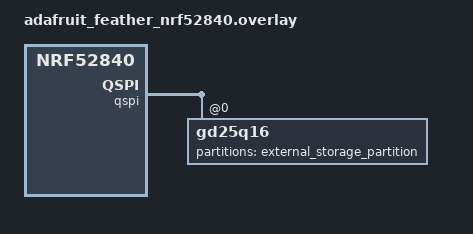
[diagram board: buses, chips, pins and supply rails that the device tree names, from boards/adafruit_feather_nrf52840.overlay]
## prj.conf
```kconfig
# Peripherals 
CONFIG_NRFX_PWM0=y
CONFIG_NRFX_PWM1=y
CONFIG_NRFX_PWM2=y
CONFIG_GPIO=n
CONFIG_NRFX_GPIOTE0=y
CONFIG_NRFX_PPI=y
CONFIG_NRFX_TIMER1=y
CONFIG_NRFX_TIMER2=y
CONFIG_NRFX_TIMER3=y
CONFIG_NRFX_TIMER4=y
CONFIG_NRFX_EGU0=y
CONFIG_NRFX_RTC2=y

CONFIG_ZERO_LATENCY_IRQS=y

#CONFIG_ASSERT=y 

# Logger module
CONFIG_BT_L2CAP_TX_MTU=64
CONFIG_BT_BUF_ACL_RX_SIZE=64
CONFIG_BT_BUF_ACL_TX_SIZE=64
CONFIG_BT_LOG_LEVEL_INF=y

# Bluetooth LE
CONFIG_BT=y
CONFIG_BT_PERIPHERAL=y
CONFIG_BT_DEVICE_NAME="SPECT_PATCH0"
CONFIG_BT_DEVICE_NAME_DYNAMIC=y

# RTT 
CONFIG_LOG=y
CONFIG_USE_SEGGER_RTT=y
CONFIG_LOG_BACKEND_UART=n
CONFIG_LOG_BACKEND_RTT=y 

# Flash memory 
#CONFIG_NVS=y
CONFIG_FLASH=y
CONFIG_FLASH_PAGE_LAYOUT=y
CONFIG_FLASH_MAP=y
CONFIG_NORDIC_QSPI_NOR=y
CONFIG_FLASH_LOG_LEVEL_DBG=y

CONFIG_REBOOT=y
```

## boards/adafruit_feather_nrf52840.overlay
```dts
&qspi {
    gd25q16: gd25q16@0 {
        /* Change this line specifically */
        jedec-id = [ c8 40 15 ]; 
        
        /* The rest can stay the same, but ensure read-only is gone */
        partitions {
            compatible = "fixed-partitions";
            #address-cells = <1>;
            #size-cells = <1>;
            external_storage_partition: partition@0 {
                label = "external_storage_partition";
                reg = <0x00000000 0x00200000>;
            };
        };
    };
};
```

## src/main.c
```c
#include "final_patch.h" 
#include "inputs.h"
#include "outputs.h"
#include "rtc.h"
#include "ble.h" // added this need to check if this is right

LOG_MODULE_REGISTER(final_patch, LOG_LEVEL_INF);

// hardware instances 
const nrfx_timer_t timer_sramout_inst = NRFX_TIMER_INSTANCE(TIMER_SRAMOUT_INST_IDX); 
const nrfx_timer_t timer_dataout_inst = NRFX_TIMER_INSTANCE(TIMER_DATAOUT_INST_IDX);
const nrfx_pwm_t pwm_sipo_instance = NRFX_PWM_INSTANCE(PWM_SIPO_INST_IDX);
const nrfx_pwm_t pwm_clk_base_instance = NRFX_PWM_INSTANCE(PWM_CLK_BASE_INST_IDX);
const nrfx_pwm_t pwm_clk_1mhz_instance = NRFX_PWM_INSTANCE(PWM_CLK_1MHZ_INST_IDX); 

// global variables 
volatile uint32_t sramout_buffer[4]; 
volatile uint32_t dataout_buffer = 0; 
volatile int sramout_count = 0;
volatile int dataout_count = 0; 
 
nrf_pwm_values_grouped_t sipo_buffer[SIPO_DATA_LEN]; 
nrf_pwm_values_common_t clk_base_value = 3200;
nrf_pwm_values_common_t clk_1mhz_value = 8 | 0x8000;
volatile uint32_t rtc_overflow_count = 0;
volatile bool sipo_done = false; 
volatile bool dac_i2c_done = false;

volatile uint32_t ble_al_counter = 0;
volatile uint32_t ble_dl_counter = 0;
volatile uint8_t done_wr_sipo = 0;
volatile uint8_t done_wr_dac = 0;

volatile uint8_t done_rd_SRAM = 0; 

volatile uint32_t current_write_offset; 
volatile bool is_dumping = false; 
volatile uint32_t dump_offset; 
volatile uint32_t gamma_counts; 

struct k_work sramout_work;
struct k_work dataout_work;

// pwm sequences 
nrf_pwm_sequence_t seq_sipo =
{
    .values.p_grouped = sipo_buffer,
    .length           = SIPO_DATA_LEN * 2, 
    .repeats          = 0,
    .end_delay        = 0
}; 

nrf_pwm_sequence_t seq_clk_base =
{
    .values.p_common = &clk_base_value,
    .length           = 1, 
    .repeats          = 0,
    .end_delay        = 0
};

nrf_pwm_sequence_t seq_clk_1mhz =
{
    .values.p_common = &clk_1mhz_value,
    .length           = 1, 
    .repeats          = 0,
    .end_delay        = 0
}; 

void sramout_work_handler(struct k_work *work)
{
    // All the bit-shifting and BLE notification logic we wrote earlier
    int count = sramout_count;
    
    process_sramout(sramout_buffer, count); 
}

void dataout_work_handler(struct k_work *work)
{   
    uint32_t ts = (uint32_t)get_current_timestamp(); 
    uint32_t val = dataout_buffer;
    int count = dataout_count;

    process_dataout(val, count, ts);  
}


void initialize_patch(void) {

        // pin initalizations 
        nrf_gpio_pin_clear(CH_RST);
        nrf_gpio_cfg_output(CH_RST);

        nrf_gpio_cfg_input(SRAMOUT_DATA_IN, NRF_GPIO_PIN_NOPULL); 
        nrf_gpio_cfg_input(SRAMOUT_CLK_IN, NRF_GPIO_PIN_NOPULL);

        nrf_gpio_cfg_input(DATAOUT_DATA_IN, NRF_GPIO_PIN_NOPULL); 
        nrf_gpio_cfg_input(DATAOUT_CLK_IN, NRF_GPIO_PIN_NOPULL);

        nrf_gpio_cfg_input(AL_DATA_IN, NRF_GPIO_PIN_NOPULL); 
        nrf_gpio_cfg_input(DL_DATA_IN, NRF_GPIO_PIN_NOPULL);

        // inputs 
        gpiote_inputs_init(); 
        timer_timeout_init(); 
        timer_counter_init();
        ppi_inputs_init(); 

        // outputs 
        pwm_clk_base_init();
        pwm_clk_1mhz_init(); 
        pwm_sipo_init(); 
        ppi_outputs_init(); 
        dac_init(); 

        // trigger global clocks 
        clk_base_trigger_transfer();
        k_usleep(100);
        clk_1mhz_trigger_transfer(); 

        // initialize workers 
        k_work_init(&sramout_work, sramout_work_handler);
        k_work_init(&dataout_work, dataout_work_handler);

        // initialize bluetooth 
        int err;
            
        // erase for actual patch 
        //nrf_gpio_cfg_output(BLE_LED);
        //nrf_gpio_pin_clear(BLE_LED); 
        reset_dl_counter(); 
        reset_al_counter(); 

        if (!device_is_ready(FLASH_DEVICE)) {
                LOG_INF("Flash device is not ready\n"); 
        }

        LOG_INF("Erasing flash for experiment...");
        err = flash_erase(FLASH_DEVICE, FLASH_BASE_OFFSET, FLASH_TOTAL_SIZE);
        if (err) {
                LOG_ERR("Flash erase failed: %d", err);
        }

        err = bt_enable(NULL); 
        if (err) {
            LOG_ERR("Bluetooth init failed \n"); 
        } 
        LOG_INF("BT success");

        // start advertising 
        // err = bt_le_adv_start(BT_LE_ADV_CONN, NULL, 0, NULL, 0); 
        patch_ad_start();  
        LOG_INF("Advertising successfully started");

}


int main(void)
{
        LOG_INF("Start Patch \n"); 
        
        // initialize patch 
        initialize_patch(); 

        k_msleep(5000);  
        // patch is idle 
        while (1) {
                if (is_dumping && current_conn) {
                    int status = dataout_dump(current_conn);
                    if (status == -ENOMEM) {
                        // BLE buffers are full, wait 1 tick for the radio to clear them
                        k_msleep(50); 
                    } else if (status == 0) {
                        // packet sent successfully and don't sleep
                        k_msleep(10); 
                    }
                } else {
                    k_sleep(K_MSEC(1000));
                }
                // test erase 
                
        }
}
```

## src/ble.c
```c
/**
 * @file ble.c
 * @author Archie Lee
 * @brief Handles patch BLE logic. 
 * @details Implements BLE connection, advertisement, communication, and GATT server.  
 * @version 1.0
 * @date 2026-01-23
 */

/* Includes ------------------------------------------------------------------*/
#include "final_patch.h" 
#include "inputs.h"
#include "outputs.h" 
#include "rtc.h" 

// logging 
LOG_MODULE_REGISTER(spect, LOG_LEVEL_INF);
#define NRFX_LOG_MODULE                 EXAMPLE
#define NRFX_EXAMPLE_CONFIG_LOG_ENABLED 1
#define NRFX_EXAMPLE_CONFIG_LOG_LEVEL   3

/* UUID ------------------------------------------------------------------*/
#define SPECT_BASE_UUID BT_UUID_128_ENCODE(0x7231db4c, 0x67ed, 0x4bf7, 0xbe9f, 0x2b84348147ee)

static struct bt_uuid_128 spect_uuid = BT_UUID_INIT_128(SPECT_BASE_UUID);
static struct bt_uuid_128 sipo_uuid  = BT_UUID_INIT_128(BT_UUID_128_ENCODE(0x7231db4d, 0x67ed, 0x4bf7, 0xbe9f, 0x2b84348147ee)); 
static struct bt_uuid_128 dac_uuid  = BT_UUID_INIT_128(BT_UUID_128_ENCODE(0x7231db4e, 0x67ed, 0x4bf7, 0xbe9f, 0x2b84348147ee));
static struct bt_uuid_128 sramout_uuid  = BT_UUID_INIT_128(BT_UUID_128_ENCODE(0x7231db4f, 0x67ed, 0x4bf7, 0xbe9f, 0x2b84348147ee));
static struct bt_uuid_128 al_uuid  = BT_UUID_INIT_128(BT_UUID_128_ENCODE(0x7231db50, 0x67ed, 0x4bf7, 0xbe9f, 0x2b84348147ee));
static struct bt_uuid_128 dl_uuid  = BT_UUID_INIT_128(BT_UUID_128_ENCODE(0x7231db51, 0x67ed, 0x4bf7, 0xbe9f, 0x2b84348147ee)); 
static struct bt_uuid_128 dataout_uuid  = BT_UUID_INIT_128(BT_UUID_128_ENCODE(0x7231db52, 0x67ed, 0x4bf7, 0xbe9f, 0x2b84348147ee));
static struct bt_uuid_128 syscmd_uuid  = BT_UUID_INIT_128(BT_UUID_128_ENCODE(0x7231db53, 0x67ed, 0x4bf7, 0xbe9f, 0x2b84348147ee));
static struct bt_uuid_128 count_status_uuid  = BT_UUID_INIT_128(BT_UUID_128_ENCODE(0x7231db54, 0x67ed, 0x4bf7, 0xbe9f, 0x2b84348147ee));

const struct bt_data ad[] = {
    /* Set advertising flags: General discoverable, BR/EDR not supported */
    BT_DATA_BYTES(BT_DATA_FLAGS, (BT_LE_AD_GENERAL | BT_LE_AD_NO_BREDR)),
    
    /* Advertise the 128-bit Service UUID so the Motherboard can filter for it */
    BT_DATA_BYTES(BT_DATA_UUID128_ALL, 
        0xee, 0x47, 0x81, 0x34, 0x84, 0x2b, 0x9f, 0xbe, 
        0xf7, 0x4b, 0xed, 0x67, 0x4c, 0xdb, 0x31, 0x72), 
};

const struct bt_data sd[] = {
    BT_DATA(BT_DATA_NAME_COMPLETE, CONFIG_BT_DEVICE_NAME, sizeof(CONFIG_BT_DEVICE_NAME) - 1), 
};

/* Global Variables ------------------------------------------------------------------*/
struct bt_conn *current_conn;
struct sramout_ble_packet ble_sramout_packet;
struct count_status_packet status_packet; 

/* BLE Connection Functions ------------------------------------------------------------------*/
void on_connected(struct bt_conn *conn, uint8_t err)
{
    if (err) {
        LOG_ERR("Connection failed (err %u)\n", err);
        return;
    }

    LOG_INF("Connected! Motherboard is now talking to us.\n");

    // erase for actual patch 
    //nrf_gpio_pin_set(BLE_LED);
    
    // Save the connection reference
    current_conn = bt_conn_ref(conn);
} 

void on_disconnected(struct bt_conn *conn, uint8_t reason)
{
    printk("Disconnected (reason %u)\n", reason);
    // erase for actual patch 
    //nrf_gpio_pin_clear(BLE_LED); 
    
    if (current_conn) {
        bt_conn_unref(current_conn);
        current_conn = NULL;
    }
    
    // CRITICAL: Start advertising again so the Motherboard can reconnect!
    // bt_le_adv_start(BT_LE_ADV_CONN, NULL, 0, NULL, 0);
    patch_ad_start();
}

// Register the callbacks with the system
BT_CONN_CB_DEFINE(conn_callbacks) = {
    .connected = on_connected,
    .disconnected = on_disconnected,
};

/* BLE Callback Functions ------------------------------------------------------------------*/
static ssize_t sipo_write_cb(struct bt_conn *conn, const struct bt_gatt_attr *attr,
                             const void *buf, uint16_t len, uint16_t offset, uint8_t flags)
{
    if (len != 16) {
        return BT_GATT_ERR(BT_ATT_ERR_INVALID_ATTRIBUTE_LEN);
    }

    
    sipo_reset(); 
    reset_sramout();  

    const uint8_t *data = (const uint8_t *)buf; 

    // LOG_INF("First byte: 0x%02X \n", data[0]);
    // LOG_INF("Second byte: 0x%02X \n", data[1]);
    // LOG_INF("Second byte: 0x%02X \n", data[2]);
    // LOG_INF("Sixth byte: 0x%02X \n", data[6]);
    // LOG_INF("Twelvth byte: 0x%02X \n", data[12]);
    // LOG_INF("Last byte: 0x%02X \n", data[15]);

    // prepare sipo_buffer 
    prepare_sipo_buffer(data); 

    // send the sipo data 
    sipo_trigger_transfer(); 

    // start the sipo transfer for now lets assume sending the sipo data means sipo_trigger 
    LOG_INF("SIPO Data Received! Sending the SIPO data with first byte: 0x%02X and last byte: 0x%02X", data[0], data[len-1]); 

    while(!sipo_done) {
        k_usleep(10); 
    }

    // sipo is done 
    done_wr_sipo = 1; 

    // notify motherboard that sipo is done 
    bt_gatt_notify(conn, attr, (const void *)&done_wr_sipo, sizeof(done_wr_sipo)); 

    LOG_INF("SIPO done! Sent done_wr_sipo to motherboard \n");

    return len;
} 

// dac write callback 
static ssize_t dac_write_cb(struct bt_conn *conn, const struct bt_gatt_attr *attr,
                             const void *buf, uint16_t len, uint16_t offset, uint8_t flags)
{
    if (len != 5) {
        return BT_GATT_ERR(BT_ATT_ERR_INVALID_ATTRIBUTE_LEN);
    }

    // Copy incoming wireless data to our local buffer
    //memcpy(ble_dac_buffer, buf, len);

    const uint8_t *data = (const uint8_t *)buf;

    // send dac data 
    dac_reset(); 
    dac_i2c_write(data, len); 

    // start the dac transfer for now lets assume sending the dac data means dac_trigger 
    LOG_INF("DAC Data Received! Sending the DAC data with first byte: 0x%02X and last byte: 0x%02X", data[0], data[len-1]); 

    // dac is done 
    done_wr_dac = 1; 
                    
    // notify motherboard that sipo is done 
    bt_gatt_notify(conn, attr, &done_wr_dac, sizeof(done_wr_dac));

    LOG_INF("DAC done! Sent done_wr_dac to motherboard \n");

    return len;
} 

// sramout read callback 
static ssize_t sramout_read_cb(struct bt_conn *conn, const struct bt_gatt_attr *attr,
                            void *buf, uint16_t len, uint16_t offset)
{

    // This helper function handles the offset and length logic for you 
    return bt_gatt_attr_read(conn, attr, buf, len, offset, &ble_sramout_packet, sizeof(ble_sramout_packet));
    
} 

// al read callback 
static ssize_t al_read_cb(struct bt_conn *conn, const struct bt_gatt_attr *attr,
                            void *buf, uint16_t len, uint16_t offset)
{

    update_al_counter(); 
    
    // This helper function handles the offset and length logic for you 
    return bt_gatt_attr_read(conn, attr, buf, len, offset, &ble_al_counter, sizeof(ble_al_counter));
} 

// dl read callback 
static ssize_t dl_read_cb(struct bt_conn *conn, const struct bt_gatt_attr *attr,
                            void *buf, uint16_t len, uint16_t offset)
{

    update_dl_counter();
 
    // This helper function handles the offset and length logic for you 
    return bt_gatt_attr_read(conn, attr, buf, len, offset, &ble_dl_counter, sizeof(ble_dl_counter));
}

// dataout read callback 
static ssize_t dataout_read_cb(struct bt_conn *conn, const struct bt_gatt_attr *attr,
                            void *buf, uint16_t len, uint16_t offset)
{

    

    // struct dataout_ble_packet pkt; 
    // if (k_msgq_get(&fifo_data_out, &pkt, K_NO_WAIT) == 0){
    //     LOG_INF("Dataout read request: Popping 0x%08X", pkt.dataout);
    //     return bt_gatt_attr_read(conn, attr, buf, len, offset, &pkt, sizeof(pkt));
    // } else {
    //     // FIFO is empty, return 0 or an error code
    //     LOG_WRN("Dataout read request: FIFO Empty");
    //     return 0; 
    // }

    return 0; 
} 

// BLE ADDED
static ssize_t count_status_cb(struct bt_conn *conn, const struct bt_gatt_attr *attr,
                            void *buf, uint16_t len, uint16_t offset)
{   
    // erase 
    // struct dataout_ble_packet new_pkt;
    // new_pkt.dataout = 12; 
    // new_pkt.timestamp = 1; 
    // LOG_INF("Erasing flash"); 
    // flash_erase(FLASH_DEVICE, FLASH_BASE_OFFSET, FLASH_TOTAL_SIZE);
    // flash_write(FLASH_DEVICE, FLASH_BASE_OFFSET, &new_pkt, sizeof(new_pkt));
    // gamma_counts++; 

    // current_write_offset = 0; 
    // current_write_offset += sizeof(new_pkt);
    // new_pkt.dataout = 2; 
    // new_pkt.timestamp = 2;
    // flash_write(FLASH_DEVICE, FLASH_BASE_OFFSET + current_write_offset, &new_pkt, sizeof(new_pkt)); 
    // gamma_counts++; 
    get_count_status(); 
    
    return bt_gatt_attr_read(conn, attr, buf, len, offset, &status_packet, sizeof(status_packet));
} 

// ADDED
int dataout_dump(struct bt_conn *conn) {
    LOG_INF("dump start"); 
    if (!is_dumping || !conn) {
        return 0; 
    }
    
    struct dataout_ble_packet pkt; 
    struct dataout_ble_packet end_pkt = {
        .timestamp = 0xFFFFFFFF,    // All 32 bits set
        .dataout   = 0x3FFFFFF,     // All 26 bits set (max for 26-bit field)
        .reserved  = 0x3F           // All 6 bits set (max for 6-bit field)
    }; 

    int ble_err = 0; 
    int packets_sent_this_round = 0; 
    const int MAX_SENT_PER_CALL = 20; 
    
    // no gamma counts 
    if (gamma_counts == 0) {
        // send the end of data
        ble_err = bt_gatt_notify(conn, &spect_svc.attrs[15], &end_pkt, sizeof(end_pkt)); 
        if (ble_err == 0) {
            is_dumping = false; 
        }
        return ble_err; 
    }

    while (dump_offset < current_write_offset) {
        if (packets_sent_this_round >= MAX_SENT_PER_CALL) {
            return 0; // Return to main loop, will resume next pass
        }

        int flash_err = flash_read(FLASH_DEVICE, FLASH_BASE_OFFSET + dump_offset, 
                                   &pkt, sizeof(pkt)); 

        if (flash_err != 0) {
            LOG_ERR("Flash read error during dump at %u", dump_offset); 
            is_dumping = false; 
            return flash_err; 
        }

        ble_err = bt_gatt_notify(conn, &spect_svc.attrs[15], &pkt, sizeof(pkt)); // double check
        if (ble_err == 0) {
            dump_offset += sizeof(pkt); // Success: increment pointer
            packets_sent_this_round++; 
        } else if (ble_err == -ENOMEM) {
            // BLE stack is full for this millisecond. 
            // Exit the function and try again on the next main loop pass.
            return ble_err; 
        } else {
            LOG_ERR("BLE Notification failed: %d", ble_err);
            is_dumping = false;
            return ble_err;
        }

        if (dump_offset >= current_write_offset) { 
            ble_err = bt_gatt_notify(conn, &spect_svc.attrs[15], &end_pkt, sizeof(end_pkt)); 
            if(ble_err == -ENOMEM) {
                return ble_err; 
            }
            is_dumping = false; 
            LOG_INF("--- BULK TRANSFER COMPLETE --- Total Bytes: %u", dump_offset);
        } 
    }

    return 0; 
}

// ADDED 
void reset_mem(void) {
    LOG_INF("Erasing flash for experiment...");
    int err = flash_erase(FLASH_DEVICE, FLASH_BASE_OFFSET, FLASH_TOTAL_SIZE);
    if (err) {
            LOG_ERR("Flash erase failed: %d", err);
    }

    current_write_offset = 0;
}

// sys command callback  BLE ADDED 
static ssize_t syscmd_write_cb(struct bt_conn *conn, const struct bt_gatt_attr *attr,
                             const void *buf, uint16_t len, uint16_t offset, uint8_t flags) 
{
    uint8_t command = ((uint8_t *)buf)[0];
    
    switch (command) {
        case 0x01: // reset sipo
            done_wr_sipo = 0; 
            //memset((void*)sipo_buffer, 0, sizeof(sipo_buffer));
            LOG_INF("reset sipo \n");
            break;
        
        case 0x02: // reset dac
            dac_reset(); 
            //memset((void*)dac_buffer, 0, sizeof(dac_buffer));
            LOG_INF("reset dac \n"); 
            break; 
        
        case 0x03: // reset sramout   
            reset_sramout(); 
            LOG_INF("reset sramout \n"); 
            break; 
        
        case 0x04: // reset aldl
            reset_al_counter(); 
            reset_dl_counter();  
            LOG_INF("reset aldl \n");  
            break; 
        
        case 0x05: // reset dataout + start rtc timer
            reset_dataout(); 
            LOG_INF("reset dataout \n"); 
            break;
        
        case 0x06: // reset chip 
            LOG_INF("reset chip \n"); 
            chip_reset(); 
            break;
        
        case 0x07: // reset global
            // reset memory
            chip_reset(); 
            reset_mem(); 
            reset_dataout();
            chip_reset();
            reset_dataout(); 
            gamma_counts = 0; 
            rtc_overflow_count = 0; 
            // reset rtc_timer need to add 
            LOG_INF("reset global \n"); 
            break; 
        
        case 0x08: // stop gamma counts 
            // stop timer + call dataout_dum[ ]
            dump_offset = 0; 
            is_dumping = true; 
            stop_timestamp_rtc(); 
            LOG_INF("stop gamma counts \n");
            break;

        case 0x09: // start gamma counts  
            // stop timer + call dataout_dump  
            start_timestamp_rtc();
            LOG_INF("start gamma counts \n");
            struct dataout_ble_packet start_signal = {
                .timestamp = 0xFFFFFFFF,
                .dataout = 0x1, // Signal for START
                .reserved = 0
            };
            bt_gatt_notify(conn, &spect_svc.attrs[15], &start_signal, sizeof(start_signal));

            // reset_mem(); 
            // reset_dataout();
            // gamma_counts = 0; 

            // struct dataout_ble_packet new_pkt;
            // int err; 
            // for (int i = 1; i < 11; i++) {
            //     new_pkt.dataout = i; 
            //     new_pkt.timestamp = i + 1; 
            //     err = flash_write(FLASH_DEVICE, FLASH_BASE_OFFSET + current_write_offset, &new_pkt, sizeof(new_pkt));
            //     if (err < 0) {
            //         LOG_ERR("flash write failed");
            //     } else {
            //         current_write_offset += sizeof(new_pkt); 
            //         gamma_counts++; 
            //     }
            // }
            //dump_offset = 0;
            //is_dumping = true; 
            LOG_INF("Ready to dump");

            break;
        
        case 0x0A: // start gamma counts  
        // stop timer + call dataout_dump  
            LOG_INF("reset patch \n");
            static struct sramout_ble_packet reset_pkt;
        
            // Fill the whole struct with Fs
            memset(&reset_pkt, 0xFF, sizeof(reset_pkt));
            
            // Send the "Signal" to the Motherboard
            bt_gatt_notify(NULL, &spect_svc.attrs[8], &reset_pkt, sizeof(reset_pkt));
            k_msleep(100);
            sys_reboot(SYS_REBOOT_COLD);
            break; 

        default:
            LOG_INF("Unknown Command: 0x%02X\n", command);
            return BT_GATT_ERR(BT_ATT_ERR_VALUE_NOT_ALLOWED);
    }

    return len; 

}

void patch_ad_start(void) {
    LOG_INF("Device Name: %s", CONFIG_BT_DEVICE_NAME);
    int err = bt_le_adv_start(BT_LE_ADV_CONN, ad, ARRAY_SIZE(ad), sd, ARRAY_SIZE(sd));
    if (err) {
        LOG_ERR("Adv start failed (err %d)", err);
    }
}

/* GATT Server ------------------------------------------------------------------*/
BT_GATT_SERVICE_DEFINE(spect_svc,
        BT_GATT_PRIMARY_SERVICE(&spect_uuid),
        BT_GATT_CHARACTERISTIC(&sipo_uuid.uuid,
                    BT_GATT_CHRC_WRITE | BT_GATT_CHRC_NOTIFY,    // Motherboard can write
                    BT_GATT_PERM_WRITE,    // Requires write permission
                    NULL, sipo_write_cb, NULL), 
        BT_GATT_CCC(NULL, BT_GATT_PERM_READ | BT_GATT_PERM_WRITE), 
        BT_GATT_CHARACTERISTIC(&dac_uuid.uuid,
                    BT_GATT_CHRC_WRITE | BT_GATT_CHRC_NOTIFY,    // Motherboard can write
                    BT_GATT_PERM_WRITE,    // Requires write permission
                    NULL, dac_write_cb, NULL), 
        BT_GATT_CCC(NULL, BT_GATT_PERM_READ | BT_GATT_PERM_WRITE), 
        BT_GATT_CHARACTERISTIC(&sramout_uuid.uuid,
                    BT_GATT_CHRC_READ | BT_GATT_CHRC_NOTIFY,    // Motherboard can read
                    BT_GATT_PERM_READ,    // Requires read permission
                    sramout_read_cb, NULL, NULL),
        BT_GATT_CCC(NULL, BT_GATT_PERM_READ | BT_GATT_PERM_WRITE), 
        BT_GATT_CHARACTERISTIC(&al_uuid.uuid,
                    BT_GATT_CHRC_READ,    // Motherboard can read
                    BT_GATT_PERM_READ,    // Requires read permission
                    al_read_cb, NULL, NULL),
        BT_GATT_CHARACTERISTIC(&dl_uuid.uuid,
                    BT_GATT_CHRC_READ,    // Motherboard can read
                    BT_GATT_PERM_READ,    // Requires read permission
                    dl_read_cb, NULL, NULL),
        BT_GATT_CHARACTERISTIC(&dataout_uuid.uuid,
                    BT_GATT_CHRC_READ | BT_GATT_CHRC_NOTIFY,    // Motherboard can read
                    BT_GATT_PERM_READ,    // Requires read permission
                    dataout_read_cb, NULL, NULL),
        BT_GATT_CCC(NULL, BT_GATT_PERM_READ | BT_GATT_PERM_WRITE),
        BT_GATT_CHARACTERISTIC(&syscmd_uuid.uuid,
                    BT_GATT_CHRC_WRITE,    
                    BT_GATT_PERM_WRITE,    
                    NULL, syscmd_write_cb, NULL), 
        BT_GATT_CHARACTERISTIC(&count_status_uuid.uuid,
                    BT_GATT_CHRC_READ,    // Motherboard can read
                    BT_GATT_PERM_READ,    // Requires read permission
                    count_status_cb, NULL, NULL)
);
```

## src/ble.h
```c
/**
 * @file ble.h
 * @author Archie Lee
 * @brief Header file for BLE patch logic.
 * @details Defines the public structures and function prototypes for 
 * BLE connection, advertisement, communication, and GATT server.
 * @version 1.0
 * @date 2026-01-23
 */

#ifndef BLE_H
#define BLE_H

#ifdef __cplusplus
extern "C" {
#endif

/* --- UUID --- */
#define SPECT_BASE_UUID BT_UUID_128_ENCODE(0x7231db4c, 0x67ed, 0x4bf7, 0xbe9f, 0x2b84348147ee)

extern struct bt_uuid_128 spect_uuid;
extern struct bt_uuid_128 sipo_uuid;  
extern struct bt_uuid_128 dac_uuid;
extern struct bt_uuid_128 sramout_uuid;
extern struct bt_uuid_128 al_uuid;
extern struct bt_uuid_128 dl_uuid;
extern struct bt_uuid_128 dataout_uuid;
extern struct bt_uuid_128 syscmd_uuid;
extern struct bt_uuid_128 count_status_uuid;

/* --- Function Prototypes --- */
/**
 * @brief Begins advertisement.
 */
void patch_ad_start(void);

int dataout_dump(struct bt_conn *conn);

void reset_mem(void); 
 
#ifdef __cplusplus
}
#endif

#endif /* BLE_H */
```

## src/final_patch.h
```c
/**
 * @file final_patch.h
 * @author Archie Lee
 * @brief Header file for patch.
 * @details Defines includes, pin configurations, peripheral instances,  
 * peripheral channels, and global variables.
 * @version 1.0
 * @date 2026-01-23
 */

#ifndef FINAL_PATCH_H
#define FINAL_PATCH_H

/* Includes ------------------------------------------------------------------*/
#include <zephyr/kernel.h>
#include <zephyr/logging/log.h>
#include <zephyr/bluetooth/bluetooth.h>
#include <zephyr/bluetooth/gatt.h>
#include <zephyr/bluetooth/uuid.h>
#include <zephyr/storage/flash_map.h>
#include <zephyr/fs/nvs.h>
#include <zephyr/drivers/flash.h>
#include <zephyr/sys/reboot.h>

#include <nrfx_pwm.h>
#include <nrfx_timer.h>

#include <hal/nrf_pwm.h>
#include <hal/nrf_ppi.h>
#include <hal/nrf_timer.h>
#include <hal/nrf_gpiote.h>
#include <hal/nrf_gpio.h>
#include <hal/nrf_egu.h>
#include <hal/nrf_rtc.h>

#include <zephyr/irq.h>

#include <inttypes.h>

#ifdef __cplusplus
extern "C" {
#endif

// pin configurations 
#define SRAMOUT_CLK_IN NRF_GPIO_PIN_MAP(1, 15) // 31
#define SRAMOUT_DATA_IN 29 // 30 
#define DATAOUT_CLK_IN NRF_GPIO_PIN_MAP(1, 11) // 1.11
#define DATAOUT_DATA_IN NRF_GPIO_PIN_MAP(1, 13) // 1.13 
#define AL_DATA_IN 31 // 1.12
#define DL_DATA_IN 30 // 1.14

#define DAC_SDA_PIN 12
#define DAC_SCL_PIN 11
#define SIPO_CLK_OUT NRF_GPIO_PIN_MAP(1, 12) // 1.15
#define SIPO_DATA_OUT NRF_GPIO_PIN_MAP(1, 14) // 29
#define CLK_1MHZ_OUT 28 // 28
#define CLK_BASE_OUT 2 // 2
#define CH_RST NRF_GPIO_PIN_MAP(1, 10) // 1.10

//#define BLE_LED NRF_GPIO_PIN_MAP(1, 10)

// hardware instance indicies 
#define GPIOTE_INST_IDX 0

#define TIMER_SRAMOUT_INST_IDX 4
#define TIMER_DATAOUT_INST_IDX 1
#define TIMER_AL_INST NRF_TIMER2 
#define TIMER_DL_INST NRF_TIMER3

#define PWM_CLK_BASE_INST_IDX 0
#define PWM_SIPO_INST_IDX 1
#define PWM_CLK_1MHZ_INST_IDX 2

// gpiote channels 
#define GPIOTE_BASE_CLK_CH 0 
#define GPIOTE_SRAMOUT_CH 1
#define GPIOTE_DATAOUT_CH 2
#define GPIOTE_AL_CH 3
#define GPIOTE_DL_CH 4 

// ppi channels 
#define PPI_SRAMOUT_CH NRF_PPI_CHANNEL0 
#define PPI_DATAOUT_CH NRF_PPI_CHANNEL1
#define PPI_EGU_CH NRF_PPI_CHANNEL2
#define PPI_SIPO_CH NRF_PPI_CHANNEL3
#define PPI_CLK_1MHZ_CH NRF_PPI_CHANNEL4 
#define PPI_AL_CH NRF_PPI_CHANNEL5 
#define PPI_DL_CH NRF_PPI_CHANNEL6

// pin mask 
#define SRAMOUT_PIN_MASK (1 << SRAMOUT_DATA_IN)
#define DATAOUT_PIN_MASK (1 << DATAOUT_DATA_IN)

// data length 
#define SIPO_DATA_LEN 126 

/* Get the node identifier for the partition label in your overlay */
#define FLASH_PARTITION_NODE DT_NODELABEL(external_storage_partition)

/* Use the DT_FLASH_AREA macros to get the device and offset */
#define FLASH_DEVICE DEVICE_DT_GET(DT_MTD_FROM_FIXED_PARTITION(FLASH_PARTITION_NODE))
#define FLASH_PARTITION_OFFSET DT_REG_ADDR(FLASH_PARTITION_NODE)
#define FLASH_BASE_OFFSET DT_REG_ADDR(FLASH_PARTITION_NODE)

// id for nvs (each data == id) 
#define FLASH_TOTAL_SIZE  (512 * 4096)

extern volatile uint32_t current_write_offset;
extern volatile bool is_dumping; 
extern volatile uint32_t dump_offset; 
extern volatile uint32_t gamma_counts; 

// hardware instances
extern const nrfx_timer_t timer_sramout_inst; 
extern const nrfx_timer_t timer_dataout_inst;
extern const nrfx_pwm_t pwm_sipo_instance;
extern const nrfx_pwm_t pwm_clk_base_instance;
extern const nrfx_pwm_t pwm_clk_1mhz_instance;

// global variables 
extern volatile uint32_t sramout_buffer[4]; 
extern volatile uint32_t dataout_buffer; 
extern volatile int sramout_count;
extern volatile int dataout_count; 
extern nrf_pwm_values_grouped_t sipo_buffer[SIPO_DATA_LEN]; 
extern nrf_pwm_values_common_t clk_base_value;
extern nrf_pwm_values_common_t clk_1mhz_value;
extern volatile uint32_t rtc_overflow_count; 

// dataout fifo buffer 
extern struct k_msgq fifo_data_out;

// done signals 
extern volatile bool sipo_done; 
extern volatile bool dac_i2c_done;

extern volatile uint32_t ble_al_counter;
extern volatile uint32_t ble_dl_counter;
extern volatile uint8_t done_wr_sipo;
extern volatile uint8_t done_wr_dac; 

extern volatile uint8_t done_rd_SRAM; 

// ble data 
struct __packed sramout_ble_packet {
    uint16_t SRAM_out0;
    uint16_t SRAM_out1;
    uint16_t SRAM_out2;
    uint16_t SRAM_out3;
    uint16_t SRAM_out4;
    uint16_t SRAM_out5;
    uint16_t SRAM_out6;
    uint16_t SRAM_out7;
    uint16_t SRAM_out8;
    uint16_t SRAM_out9;
}; 

extern struct sramout_ble_packet ble_sramout_packet;

struct __packed dataout_ble_packet {
    uint64_t dataout   : 26; // Your ASIC pulse width (26 bits)
    uint64_t reserved  : 6;  // Padding to reach exactly 64 bits (8 bytes) 
    uint64_t timestamp : 32; // Lower 32 bits of RTC (30.5us precision)
}; 

struct __packed count_status_packet {
    uint32_t counts; 
    uint32_t curr_time; 
    struct dataout_ble_packet dt[1];
}; 

extern struct count_status_packet status_packet;

extern struct bt_conn *current_conn;

extern const struct bt_gatt_service_static spect_svc;

extern const struct bt_data ad[2]; 

// pwm sequences 
extern nrf_pwm_sequence_t seq_sipo;   
extern nrf_pwm_sequence_t seq_clk_base;
extern nrf_pwm_sequence_t seq_clk_1mhz; 

// workers 
extern struct k_work sramout_work;
extern struct k_work dataout_work;

#ifdef __cplusplus
}
#endif

#endif /* FINAL_PATCH_H */
```

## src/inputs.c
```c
/**
 * @file inputs.c
 * @author Archie Lee
 * @brief Handles data interface between nrf52840 inputs and ASIC. 
 * @details Implements SRAMOUT, DATAOUT, AL, and DL inputs.  
 * @version 1.0
 * @date 2026-01-23
 */

/* Includes ------------------------------------------------------------------*/
#include "final_patch.h"
#include "rtc.h" 

LOG_MODULE_DECLARE(final_patch, LOG_LEVEL_INF);

// dataout fifo 
//K_MSGQ_DEFINE(fifo_data_out, sizeof(uint32_t), 32, 4);
//K_MSGQ_DEFINE(fifo_data_out, sizeof(struct dataout_ble_packet), 32, 4);

/* ISR ------------------------------------------------------------------*/
// https://docs.zephyrproject.org/latest/kernel/services/interrupts.html 
//__attribute__((section(".ramfunc")))
ISR_DIRECT_DECLARE(gpiote_fast_handler)
{
    NRF_GPIOTE->EVENTS_IN[1] = 0;

    uint32_t count = sramout_count;

    if (NRF_P0->IN & (1 << SRAMOUT_DATA_IN)) {
        // Shifting a constant 1UL is faster than variable math
        sramout_buffer[count >> 5] |= (1UL << (count & 31));
    }
        sramout_count = count + 1; 

    return 0;
}

__attribute__((section(".ramfunc")))
ISR_DIRECT_DECLARE(egu_fast_handler) {
    NRF_GPIOTE->EVENTS_IN[2] = 0;
    NRF_EGU0->EVENTS_TRIGGERED[0] = 0;

    if (NRF_P0->IN & (1 << DATAOUT_DATA_IN)) {
        dataout_buffer |= (1 << dataout_count);
    }
    dataout_count++;
    return 0;
}


/* Timeout Handlers ------------------------------------------------------------------*/
static void timer_sramout_handler(nrf_timer_event_t event_type, void * p_context) {
        if (event_type == NRF_TIMER_EVENT_COMPARE0) {
        // packet is finished 
                if (sramout_count > 0) {
                        k_work_submit(&sramout_work); 
                }
        }
}

static void timer_dataout_handler(nrf_timer_event_t event_type, void * p_context) {
        if (event_type == NRF_TIMER_EVENT_COMPARE0) {
        // packet is finished 
                if (dataout_count > 0) {
                        k_work_submit(&dataout_work); 
                }
        }
} 


/* Peipheral Initializations ------------------------------------------------------------------*/
void gpiote_inputs_init(void) {

        // enable instruction cache
        NRF_NVMC->ICACHECNF = NVMC_ICACHECNF_CACHEEN_Enabled << NVMC_ICACHECNF_CACHEEN_Pos;

        IRQ_DIRECT_CONNECT(GPIOTE_IRQn, 0, gpiote_fast_handler, IRQ_ZERO_LATENCY);
        irq_enable(GPIOTE_IRQn);

        IRQ_DIRECT_CONNECT(SWI0_EGU0_IRQn, 0, egu_fast_handler, IRQ_ZERO_LATENCY);
        irq_enable(SWI0_EGU0_IRQn);

        // sramout channel 
        NRF_GPIOTE->CONFIG[1] = (GPIOTE_CONFIG_MODE_Event      << GPIOTE_CONFIG_MODE_Pos)   |
                            (SRAMOUT_CLK_IN                        << GPIOTE_CONFIG_PSEL_Pos)   |
                            (GPIOTE_CONFIG_POLARITY_LoToHi << GPIOTE_CONFIG_POLARITY_Pos);

        NRF_GPIOTE->INTENSET = GPIOTE_INTENSET_IN1_Msk;

        nrf_gpio_cfg_input(SRAMOUT_DATA_IN, NRF_GPIO_PIN_NOPULL);

        // egu for dataout 
        NRF_EGU0->EVENTS_TRIGGERED[0] = 0;
        NRF_EGU0->INTENSET = EGU_INTENSET_TRIGGERED0_Msk;

        // dataout channel 
        NRF_GPIOTE->CONFIG[2] = (GPIOTE_CONFIG_MODE_Event      << GPIOTE_CONFIG_MODE_Pos)   |
                            (DATAOUT_CLK_IN                        << GPIOTE_CONFIG_PSEL_Pos)   |
                            (GPIOTE_CONFIG_POLARITY_LoToHi << GPIOTE_CONFIG_POLARITY_Pos);
        
        NRF_GPIOTE->INTENCLR = GPIOTE_INTENCLR_IN2_Msk;

        nrf_gpio_cfg_input(DATAOUT_DATA_IN, NRF_GPIO_PIN_NOPULL);

        // connect dataout with egu 
        nrf_ppi_channel_endpoint_setup(NRF_PPI, PPI_EGU_CH, 
                (uint32_t)&NRF_GPIOTE->EVENTS_IN[2], 
                (uint32_t)&NRF_EGU0->TASKS_TRIGGER[0]
        ); 

        nrf_ppi_channel_enable(NRF_PPI, PPI_EGU_CH);

        // counter gpiote enable 
        nrf_gpiote_event_configure(NRF_GPIOTE, GPIOTE_AL_CH, AL_DATA_IN, NRF_GPIOTE_POLARITY_LOTOHI);
        nrf_gpiote_event_enable(NRF_GPIOTE, GPIOTE_AL_CH);

        nrf_gpiote_event_configure(NRF_GPIOTE, GPIOTE_DL_CH, DL_DATA_IN, NRF_GPIOTE_POLARITY_LOTOHI);
        nrf_gpiote_event_enable(NRF_GPIOTE, GPIOTE_DL_CH);

} 

void timer_timeout_init(void) {
        IRQ_CONNECT(NRFX_IRQ_NUMBER_GET(NRF_TIMER_INST_GET(TIMER_SRAMOUT_INST_IDX)), IRQ_PRIO_LOWEST,
                NRFX_TIMER_INST_HANDLER_GET(TIMER_SRAMOUT_INST_IDX), 0, 0);
        
        IRQ_CONNECT(NRFX_IRQ_NUMBER_GET(NRF_TIMER_INST_GET(TIMER_DATAOUT_INST_IDX)), IRQ_PRIO_LOWEST,
                NRFX_TIMER_INST_HANDLER_GET(TIMER_DATAOUT_INST_IDX), 0, 0);

        // sramout timeout 
        uint32_t base_frequency = NRF_TIMER_BASE_FREQUENCY_GET(timer_sramout_inst.p_reg);
        nrfx_timer_config_t sramout_config = NRFX_TIMER_DEFAULT_CONFIG(base_frequency);
        sramout_config.bit_width = NRF_TIMER_BIT_WIDTH_32;
        
        nrfx_err_t err = nrfx_timer_init(&timer_sramout_inst, &sramout_config, timer_sramout_handler); 
        if (err != NRFX_SUCCESS) {
                LOG_INF("sramout timer init failed");
        }
        LOG_INF("sramout timer init succeeded");
        
        nrfx_timer_clear(&timer_sramout_inst);

        uint32_t desired_ticks = nrfx_timer_us_to_ticks(&timer_sramout_inst, 48); // 0.2ms
        nrfx_timer_extended_compare(&timer_sramout_inst, NRF_TIMER_CC_CHANNEL0, desired_ticks,
                                NRF_TIMER_SHORT_COMPARE0_STOP_MASK, true);

        // turn timer off initially 
        nrf_timer_task_trigger(timer_sramout_inst.p_reg, NRF_TIMER_TASK_STOP);
        nrf_timer_task_trigger(timer_sramout_inst.p_reg, NRF_TIMER_TASK_CLEAR);

        // dataout timeout 
        base_frequency = NRF_TIMER_BASE_FREQUENCY_GET(timer_dataout_inst.p_reg);
        nrfx_timer_config_t dataout_config = NRFX_TIMER_DEFAULT_CONFIG(base_frequency);
        dataout_config.bit_width = NRF_TIMER_BIT_WIDTH_32;
        
        err = nrfx_timer_init(&timer_dataout_inst, &dataout_config, timer_dataout_handler); 
        if (err != NRFX_SUCCESS) {
                LOG_INF("dataout timer init failed");
        }
        LOG_INF("dataout timer init succeeded");
        
        nrfx_timer_clear(&timer_dataout_inst);

        desired_ticks = nrfx_timer_us_to_ticks(&timer_dataout_inst, 48); // 0.2ms
        nrfx_timer_extended_compare(&timer_dataout_inst, NRF_TIMER_CC_CHANNEL0, desired_ticks,
                                NRF_TIMER_SHORT_COMPARE0_STOP_MASK, true);

        // turn timer off initially 
        nrf_timer_task_trigger(timer_dataout_inst.p_reg, NRF_TIMER_TASK_STOP);
        nrf_timer_task_trigger(timer_dataout_inst.p_reg, NRF_TIMER_TASK_CLEAR);
} 

void timer_counter_init(void) {
        // AL counter 
        nrf_timer_task_trigger(TIMER_AL_INST, NRF_TIMER_TASK_STOP);
        nrf_timer_task_trigger(TIMER_AL_INST, NRF_TIMER_TASK_CLEAR);

        nrf_timer_mode_set(TIMER_AL_INST, NRF_TIMER_MODE_COUNTER); 
        nrf_timer_bit_width_set(TIMER_AL_INST, NRF_TIMER_BIT_WIDTH_32);

        nrf_timer_task_trigger(TIMER_AL_INST, NRF_TIMER_TASK_START);

        // DL counter 
        nrf_timer_task_trigger(TIMER_DL_INST, NRF_TIMER_TASK_STOP);
        nrf_timer_task_trigger(TIMER_DL_INST, NRF_TIMER_TASK_CLEAR);

        nrf_timer_mode_set(TIMER_DL_INST, NRF_TIMER_MODE_COUNTER); 
        nrf_timer_bit_width_set(TIMER_DL_INST, NRF_TIMER_BIT_WIDTH_32);

        nrf_timer_task_trigger(TIMER_DL_INST, NRF_TIMER_TASK_START);
}

void ppi_inputs_init(void) {
        // low to high --> start timer 
        nrf_ppi_channel_endpoint_setup(NRF_PPI, PPI_SRAMOUT_CH, 
                (uint32_t)&NRF_GPIOTE->EVENTS_IN[1], 
                nrfx_timer_task_address_get(&timer_sramout_inst, NRF_TIMER_TASK_CLEAR)
        ); 

        // low to high --> clear timer 
        nrf_ppi_fork_endpoint_setup(NRF_PPI, PPI_SRAMOUT_CH, nrfx_timer_task_address_get(&timer_sramout_inst, NRF_TIMER_TASK_START)); 

        nrf_ppi_channel_enable(NRF_PPI, PPI_SRAMOUT_CH); 

        // low to high --> start timer 
        nrf_ppi_channel_endpoint_setup(NRF_PPI, PPI_DATAOUT_CH, 
                (uint32_t)&NRF_GPIOTE->EVENTS_IN[2], 
                nrfx_timer_task_address_get(&timer_dataout_inst, NRF_TIMER_TASK_CLEAR)
        ); 

        // low to high --> clear timer 
        nrf_ppi_fork_endpoint_setup(NRF_PPI, PPI_DATAOUT_CH, nrfx_timer_task_address_get(&timer_dataout_inst, NRF_TIMER_TASK_START)); 

        nrf_ppi_channel_enable(NRF_PPI, PPI_DATAOUT_CH);

        // counters 
        nrf_ppi_channel_endpoint_setup(NRF_PPI, PPI_AL_CH, 
                nrf_gpiote_event_address_get(NRF_GPIOTE, nrf_gpiote_in_event_get(GPIOTE_AL_CH)), 
                nrf_timer_task_address_get(TIMER_AL_INST, NRF_TIMER_TASK_COUNT)
        );

        nrf_ppi_channel_enable(NRF_PPI, PPI_AL_CH);

        nrf_ppi_channel_endpoint_setup(NRF_PPI, PPI_DL_CH, 
                nrf_gpiote_event_address_get(NRF_GPIOTE, nrf_gpiote_in_event_get(GPIOTE_DL_CH)), 
                nrf_timer_task_address_get(TIMER_DL_INST, NRF_TIMER_TASK_COUNT)
        );

        nrf_ppi_channel_enable(NRF_PPI, PPI_DL_CH);
}


/* Reset Functions ------------------------------------------------------------------*/
void reset_al_counter(void) {
        nrf_timer_task_trigger(TIMER_AL_INST, NRF_TIMER_TASK_CLEAR);
        ble_al_counter = 0; 
}

void reset_dl_counter(void) {
        nrf_timer_task_trigger(TIMER_DL_INST, NRF_TIMER_TASK_CLEAR);
        ble_dl_counter = 0;
} 

void reset_sramout(void) {
        done_rd_SRAM = 0; 
        sramout_count = 0; 
        memset((void *)sramout_buffer, 0, sizeof(sramout_buffer));
        memset(&ble_sramout_packet, 0, sizeof(ble_sramout_packet));
} 

void reset_dataout(void) {
        dataout_count = 0; 
        dataout_buffer = 0; 
        rtc_overflow_count = 0; 
} 

/* AL/DL Update Functions ------------------------------------------------------------------*/
void update_al_counter(void) {
        nrf_timer_task_trigger(TIMER_AL_INST, NRF_TIMER_TASK_CAPTURE0);
        ble_al_counter = nrf_timer_cc_get(TIMER_AL_INST, NRF_TIMER_CC_CHANNEL0);
}

void update_dl_counter(void) {
        nrf_timer_task_trigger(TIMER_DL_INST, NRF_TIMER_TASK_CAPTURE0);
        ble_dl_counter = nrf_timer_cc_get(TIMER_DL_INST, NRF_TIMER_CC_CHANNEL0);
}


/* SRAMOUT and DATAOUT Process Functions  ------------------------------------------------------------------*/
bool get_sram_bit(volatile uint32_t *buffer, int bit_idx) {
    // word 0: bits 0-31, word 1: bits 32-63, etc.
    return (buffer[bit_idx >> 5] >> (bit_idx & 31)) & 0x01;
} 

void process_sramout(volatile uint32_t *buffer, int count) {

    //memset(&ble_sramout_packet, 0, sizeof(ble_sramout_packet));

    //LOG_INF("sramout: 0x%08X %08X %08X %08X \n", 
    //     __RBIT(buffer[0]), __RBIT(buffer[1]), __RBIT(buffer[2]), __RBIT(buffer[3]));
    //LOG_INF("count: %u \n", count); 

    // --- REPLICATING FPGA LOGIC CONDITIONS ---
    // FPGA: (SRAM_out[0]==1'b1 && counter_SRAM==16'd1)
    if (count == 2 && get_sram_bit(buffer, 0)) {
        done_rd_SRAM = 1;
        LOG_INF("first condition");
    }
    // FPGA: (SRAM_out[8]==1'b0 && counter_SRAM==16'd9)
    else if (count == 10 && !get_sram_bit(buffer, 8)) {
        done_rd_SRAM = 1;
        LOG_INF("second condition");
    }
    // FPGA: (SRAM_out[110]==1'b0 && counter_SRAM==16'd111)
    // Note: C count 111 is the 112th bit
    else if (count == 112 && !get_sram_bit(buffer, 110)) {
        done_rd_SRAM = 1;
        LOG_INF("third condition");
    }

    // buffer[0] has bits that arrived first 
    uint32_t b0 = __RBIT(buffer[0]);
    uint32_t b1 = __RBIT(buffer[1]);
    uint32_t b2 = __RBIT(buffer[2]);
    uint32_t b3 = __RBIT(buffer[3]);

    memset(&ble_sramout_packet, 0, sizeof(ble_sramout_packet));

    // remember to change this for the actual code 
    done_rd_SRAM = 1; 
    
    if (done_rd_SRAM) {
        // Slice the 128-bit buffer into the 16-bit FPGA chunks
        ble_sramout_packet.SRAM_out6 = (uint16_t)(b0 >> 16);  // bits 0-15 reversed
        ble_sramout_packet.SRAM_out5 = (uint16_t)(b0 & 0xFFFF); // bits 16-31 reversed
        ble_sramout_packet.SRAM_out4 = (uint16_t)(b1 >> 16);  // bits 32-47 reversed
        ble_sramout_packet.SRAM_out3 = (uint16_t)(b1 & 0xFFFF); // bits 48-63 reversed
        ble_sramout_packet.SRAM_out2 = (uint16_t)(b2 >> 16);  // bits 64-79 reversed
        ble_sramout_packet.SRAM_out1 = (uint16_t)(b2 & 0xFFFF); // bits 80-95 reversed
        ble_sramout_packet.SRAM_out0 = (uint16_t)(b3 >> 16);

        // need to delete
        ble_sramout_packet.SRAM_out7 = (uint16_t)sramout_count;
        ble_sramout_packet.SRAM_out8 = (uint16_t)(sramout_buffer[0] >> 16);
        ble_sramout_packet.SRAM_out9 = (uint16_t)(sramout_buffer[0] & 0xFFFF);
        
        LOG_INF("SRAM Data (LSB-Packed): \n");
        LOG_INF("sram_out9 :   0x%04X \n", ble_sramout_packet.SRAM_out9);
        LOG_INF("sram_out8 :   0x%04X \n", ble_sramout_packet.SRAM_out8);
        LOG_INF("sram_out7 :   0x%04X \n", ble_sramout_packet.SRAM_out7);

        LOG_INF("sram_out6 :   0x%04X \n", ble_sramout_packet.SRAM_out6);
        LOG_INF("sram_out5:  0x%04X \n", ble_sramout_packet.SRAM_out5);
        LOG_INF("sram_out4:  0x%04X \n", ble_sramout_packet.SRAM_out4);
        LOG_INF("sram_out3: (96-111): 0x%04X \n", ble_sramout_packet.SRAM_out3);
        LOG_INF("sram_out2 :   0x%04X \n", ble_sramout_packet.SRAM_out2);
        LOG_INF("sram_out1:  0x%04X \n", ble_sramout_packet.SRAM_out1);
        LOG_INF("sram_out0:  0x%04X \n", ble_sramout_packet.SRAM_out0);
        LOG_INF("Total Bits: %d \n", sramout_count);

        bt_gatt_notify(current_conn, &spect_svc.attrs[8], &ble_sramout_packet, sizeof(ble_sramout_packet));
    } 

    done_rd_SRAM = 0; 
    sramout_count = 0; 
    memset((void *)sramout_buffer, 0, sizeof(sramout_buffer));
 
} 


int ble_notification_dataout(struct dataout_ble_packet *pkt, uint16_t len) {
        return bt_gatt_notify(current_conn, &spect_svc.attrs[15], pkt, len); 
}

void process_dataout(uint32_t dataout, int count, uint32_t timestamp) {
    // FPGA: counter_data0 == 16'd25 (which is the 26th bit)

    if (count == 26) {
        struct dataout_ble_packet new_pkt; 

        new_pkt.timestamp = timestamp; 
        
        // Extract the 26 bits. 
        // Note: dataout_buffer[25:0] matches your uint32_t bits 0 to 25.
        new_pkt.dataout = __RBIT(dataout) >> 6; // Mask only 26 bits

        // padding 
        new_pkt.reserved = 0; 

        gamma_counts++; 

        // memory is full 
        if (current_write_offset + sizeof(new_pkt) >= FLASH_TOTAL_SIZE) {
                LOG_WRN("Flash full! Wrapping back to start of partition.");
        } else {
                int err = flash_write(FLASH_DEVICE, FLASH_BASE_OFFSET + current_write_offset, &new_pkt, sizeof(new_pkt));

                if (err < 0) {
                        LOG_ERR("flash write failed");
                } else {
                        current_write_offset += sizeof(new_pkt);
                        
                        // make sure to erase this for the final code 
                        LOG_INF("dataout count: 0x%08llX | Time: %u", 
                        (long long)new_pkt.dataout, new_pkt.timestamp);
                }
        }

        dataout_count = 0; 
        dataout_buffer = 0;
        
        //LOG_INF("DataOut Packet Processed: 0x%08X", new_pkt.dataout);
    } else {
        dataout_count = 0; 
        dataout_buffer = 0;
        // This handles cases where noise or partial packets occur
        LOG_WRN("DataOut rejected: count was %d, expected 26", count);
    }
}

void get_count_status(void) {

        memset(status_packet.dt, 0, sizeof(status_packet.dt));
        status_packet.counts = gamma_counts;
        status_packet.curr_time = get_current_timestamp(); 

        if (status_packet.counts > 0) {
                int dataout_to_read = (status_packet.counts > 1) ? 1 : status_packet.counts;

                for (int i = 0; i < dataout_to_read; i++) {
                        int err = flash_read(FLASH_DEVICE, 
                                                FLASH_BASE_OFFSET + (i * sizeof(struct dataout_ble_packet)), 
                                                &status_packet.dt[i], 
                                                sizeof(struct dataout_ble_packet));            
                        if (err) {
                                LOG_ERR("Flash read failed at index %d: %d", i, err);  
                                break; 
                        }
                } 
        }
}
```

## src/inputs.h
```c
/**
 * @file inputs.h
 * @author Archie Lee
 * @brief Header file for data interface between nrf52840 inputs and ASIC.
 * @details Defines the public structures and function prototypes for 
 * SRAMOUT, DATAOUT, AL, and DL.
 * @version 1.0
 * @date 2026-01-23
 */

#ifndef INPUTS_H
#define INPUTS_H

#ifdef __cplusplus
extern "C" {
#endif

/* --- Function Prototypes --- */

/** @brief Initializes GPIOTE and EGU for high-speed input sampling. */
void gpiote_inputs_init(void);

/** @brief Initializes timers used for sampling timeouts. */
void timer_timeout_init(void);

/** @brief Configures PPI to link GPIOTE events to Timer/EGU tasks. */
void ppi_inputs_init(void);

/** @brief Initializes timers used as counters (sampling AL/DL). */
void timer_counter_init(void);

/** @brief Resets AL counter. */
void reset_al_counter(void);

/** @brief Resets DL counter. */
void reset_dl_counter(void);

/** @brief Resets sramout. */
void reset_sramout(void);

/** @brief Resets dataout. */
void reset_dataout(void);

/** @brief Updates AL counter value. */
void update_al_counter(void);

/** @brief Updates DL counter value. */
void update_dl_counter(void);

/** @brief Processes sramout data. */
void process_sramout(volatile uint32_t *buffer, int count); 

/** @brief Processes dataout data. */
void process_dataout(uint32_t dataout, int count, uint32_t timestamp); 

void get_count_status(void); 

/** @brief Returns sramout bit. */
bool get_sram_bit(volatile uint32_t *buffer, int bit_idx); 

#ifdef __cplusplus
}
#endif

#endif /* INPUTS_H */
```

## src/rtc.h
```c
/**
 * @file rtc.h
 * @author Archie Lee
 * @brief  Header file for RTC timer logic for dataout timestamp. 
 * @details Defines RTC timer initialization, RTC timer handler, and timestamp return.  
 * @version 1.0
 * @date 2026-02-03
 */

#ifndef RTC_H
#define RTC_H


/* --- Function Prototypes --- */

/**
 * @brief Begins timestamp timer for dataout.
 */
void start_timestamp_rtc(void); 

void stop_timestamp_rtc(void); 

/**
 * @brief Returns timestamp for dataout.
 */
uint32_t get_current_timestamp(void);

#endif /* FINAL_PATCH_H */
```
